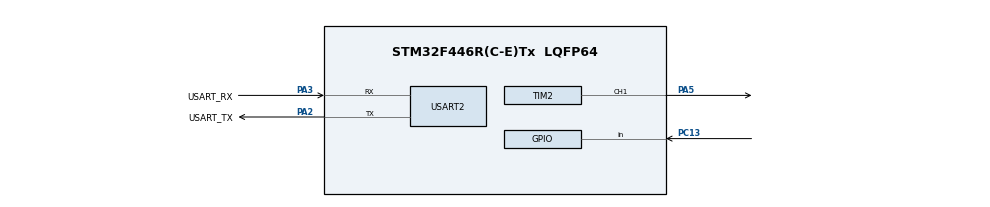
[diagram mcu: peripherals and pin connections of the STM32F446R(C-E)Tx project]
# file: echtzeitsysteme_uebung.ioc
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Mcu.Family=STM32F4
Mcu.Name=STM32F446R(C-E)Tx
Mcu.Package=LQFP64
NVIC.PriorityGroup=NVIC_PRIORITYGROUP_0
PA13.GPIO_Label=TMS
PA13.Mode=Serial_Wire
PA13.Signal=SYS_JTMS-SWDIO
PA14.GPIO_Label=TCK
PA14.Mode=Serial_Wire
PA14.Signal=SYS_JTCK-SWCLK
PA2.GPIO_Label=USART_TX
PA2.Mode=Asynchronous
PA2.Signal=USART2_TX
PA3.GPIO_Label=USART_RX
PA3.Mode=Asynchronous
PA3.Signal=USART2_RX
PA5.Signal=S_TIM2_CH1_ETR
PB3.GPIO_Label=SWO
PB3.Signal=SYS_JTDO-SWO
PC13.Signal=GPIO_Input
PC14-OSC32_IN.Mode=LSE-External-Oscillator
PC14-OSC32_IN.Signal=RCC_OSC32_IN
PC15-OSC32_OUT.Mode=LSE-External-Oscillator
PC15-OSC32_OUT.Signal=RCC_OSC32_OUT
PH0-OSC_IN.Mode=HSE-External-Oscillator
PH0-OSC_IN.Signal=RCC_OSC_IN
PH1-OSC_OUT.Mode=HSE-External-Oscillator
PH1-OSC_OUT.Signal=RCC_OSC_OUT
ProjectManager.HeapSize=0x200
ProjectManager.StackSize=0x400
ProjectManager.TargetToolchain=STM32CubeIDE
RCC.48MHZClocksFreq_Value=84000000
RCC.AHBFreq_Value=84000000
RCC.APB1CLKDivider=RCC_HCLK_DIV2
RCC.APB1Freq_Value=42000000
RCC.APB1TimFreq_Value=84000000
RCC.APB2Freq_Value=84000000
RCC.APB2TimFreq_Value=84000000
RCC.CortexFreq_Value=84000000
RCC.FLatency-AdvancedSettings=FLASH_LATENCY_2
RCC.HCLKFreq_Value=84000000
RCC.HSE_VALUE=8000000
RCC.HSI_VALUE=16000000
RCC.PLLN=336
RCC.PLLP=RCC_PLLP_DIV4
RCC.SYSCLKFreq_VALUE=84000000
RCC.SYSCLKSource=RCC_SYSCLKSOURCE_PLLCLK
RCC.USBFreq_Value=168000000
RCC.VCOOutputFreq_Value=336000000
SH.S_TIM2_CH1_ETR.0=TIM2_CH1,PWM Generation1 CH1
TIM2.AutoReloadPreload=TIM_AUTORELOAD_PRELOAD_ENABLE
TIM2.Channel-PWM\ Generation1\ CH1=TIM_CHANNEL_1
TIM2.CounterMode=TIM_COUNTERMODE_CENTERALIGNED3
TIM2.Period=9999
TIM2.Prescaler=83
USART2.VirtualMode=VM_ASYNC
board=NUCLEO-F446RE

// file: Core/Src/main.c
/* USER CODE BEGIN Header */
/**
 ******************************************************************************
 * @file           : main.c
 * @brief          : Main program body
 ******************************************************************************
 * @attention
 *
 * Copyright (c) 2025 STMicroelectronics.
 * All rights reserved.
 *
 * This software is licensed under terms that can be found in the LICENSE file
 * in the root directory of this software component.
 * If no LICENSE file comes with this software, it is provided AS-IS.
 *
 ******************************************************************************
 */
/* USER CODE END Header */
#include "main.h"
#include "tim.h"
#include "usart.h"
#include "gpio.h"

/* USER CODE BEGIN PD */
//DEFINES
#define LED_PIN     LL_GPIO_PIN_5   // LED PIN
#define LED_PORT    GPIOA
#define BUTTON_PIN  LL_GPIO_PIN_13 // Input Pin
#define BUTTON_PORT GPIOC

//Variablen

/* USER CODE END PD */

void SystemClock_Config(void);

/* USER CODE BEGIN 0 */
int __io_putchar(int ch) {
	while (!LL_USART_IsActiveFlag_TXE(USART2)) {
	}
	LL_USART_TransmitData8(USART2, ch);
	return ch;
}
/* USER CODE END 0 */

int main(void) {

	/* MCU Configuration--------------------------------------------------------*/

	/* Reset of all peripherals, Initializes the Flash interface and the Systick. */
	LL_APB2_GRP1_EnableClock(LL_APB2_GRP1_PERIPH_SYSCFG);
	LL_APB1_GRP1_EnableClock(LL_APB1_GRP1_PERIPH_PWR);

	/* System interrupt init*/
	NVIC_SetPriorityGrouping(NVIC_PRIORITYGROUP_0);

	/* Configure the system clock */
	SystemClock_Config();

	/* USER CODE BEGIN SysInit */
	//LL_SYSTICK_EnableIT();
	/* USER CODE END SysInit */

	/* Initialize all configured peripherals */
	MX_GPIO_Init();
	MX_USART2_UART_Init();
	MX_TIM2_Init();
	/* USER CODE BEGIN 2 */
	LL_TIM_CC_EnableChannel(TIM2, LL_TIM_CHANNEL_CH1); // channel aktivieren
	LL_TIM_EnableAllOutputs(TIM2); // outputs aktivieren
	LL_TIM_EnableCounter(TIM2);    // counter starten
	//printf("Hallo Echtzeitsysteme!\r\n"); // hier weil USART2 erst in Zeile 99 initialisiert wird
	//uint32_t blinkDelay = 750; // halbe Periode in ms T = 2 * blinkDelay -> 1500ms
	uint32_t arr = LL_TIM_GetAutoReload(TIM2);
	int32_t helligkeit = 0; // (CCR/ARR) * 100 --> Arr = 999 CCR = 500 -> helligkeit = 50%
	int8_t schritte = 20; // wie schnell wird Helligkeit stärker
	/* USER CODE END 2 */

	/* Infinite loop */
	while (1) {

		/* USER CODE BEGIN 3 */
		/*
		 * Aufgabe aus dem Setup
		 if (LL_GPIO_IsInputPinSet(BUTTON_PORT, BUTTON_PIN)) {
		 blinkDelay = 250;
		 } else {
		 blinkDelay = 750;
		 }

		 //LED anschalten
		 LL_GPIO_TogglePin(LED_PORT, LED_PIN);
		 // delay einstellen
		 LL_mDelay(blinkDelay);

		 printf("[%lu ms] LED toggled\n", SysTicks);
		 */

		LL_TIM_OC_SetCompareCH1(TIM2, (uint32_t) helligkeit); //CCR wird gesetzt
		LL_mDelay(10);

		helligkeit += schritte; // helligkeit hochschrauben

		//wenn TOP erreicht dann soll helligkeit wieder runtergehen
		if (helligkeit >= (int32_t) arr) {
			helligkeit = arr;
			schritte = -schritte; //schritte negativ machen
		}
		//wenn 0 erreicht soll es wieder nach oben gehen
		if (helligkeit <= 0) {
			helligkeit = 0;
			schritte = -schritte; //schritte wieder zurücksetzen
		}
	}
	/* USER CODE END 3 */
}

void SystemClock_Config(void) {
	LL_FLASH_SetLatency(LL_FLASH_LATENCY_2);
	while (LL_FLASH_GetLatency() != LL_FLASH_LATENCY_2) {
	}
	LL_PWR_SetRegulVoltageScaling(LL_PWR_REGU_VOLTAGE_SCALE3);
	LL_PWR_DisableOverDriveMode();
	LL_RCC_HSI_SetCalibTrimming(16);
	LL_RCC_HSI_Enable();

	/* Wait till HSI is ready */
	while (LL_RCC_HSI_IsReady() != 1) {

	}
	LL_RCC_PLL_ConfigDomain_SYS(LL_RCC_PLLSOURCE_HSI, LL_RCC_PLLM_DIV_16, 336,
			LL_RCC_PLLP_DIV_4);
	LL_RCC_PLL_Enable();

	/* Wait till PLL is ready */
	while (LL_RCC_PLL_IsReady() != 1) {

	}
	while (LL_PWR_IsActiveFlag_VOS() == 0) {
	}
	LL_RCC_SetAHBPrescaler(LL_RCC_SYSCLK_DIV_1);
	LL_RCC_SetAPB1Prescaler(LL_RCC_APB1_DIV_2);
	LL_RCC_SetAPB2Prescaler(LL_RCC_APB2_DIV_1);
	LL_RCC_SetSysClkSource(LL_RCC_SYS_CLKSOURCE_PLL);

	/* Wait till System clock is ready */
	while (LL_RCC_GetSysClkSource() != LL_RCC_SYS_CLKSOURCE_STATUS_PLL) {

	}
	LL_Init1msTick(84000000);
	LL_SetSystemCoreClock(84000000);
	LL_RCC_SetTIMPrescaler(LL_RCC_TIM_PRESCALER_TWICE);
}

void Error_Handler(void) {
	__disable_irq();
	while (1) {
	}
}
